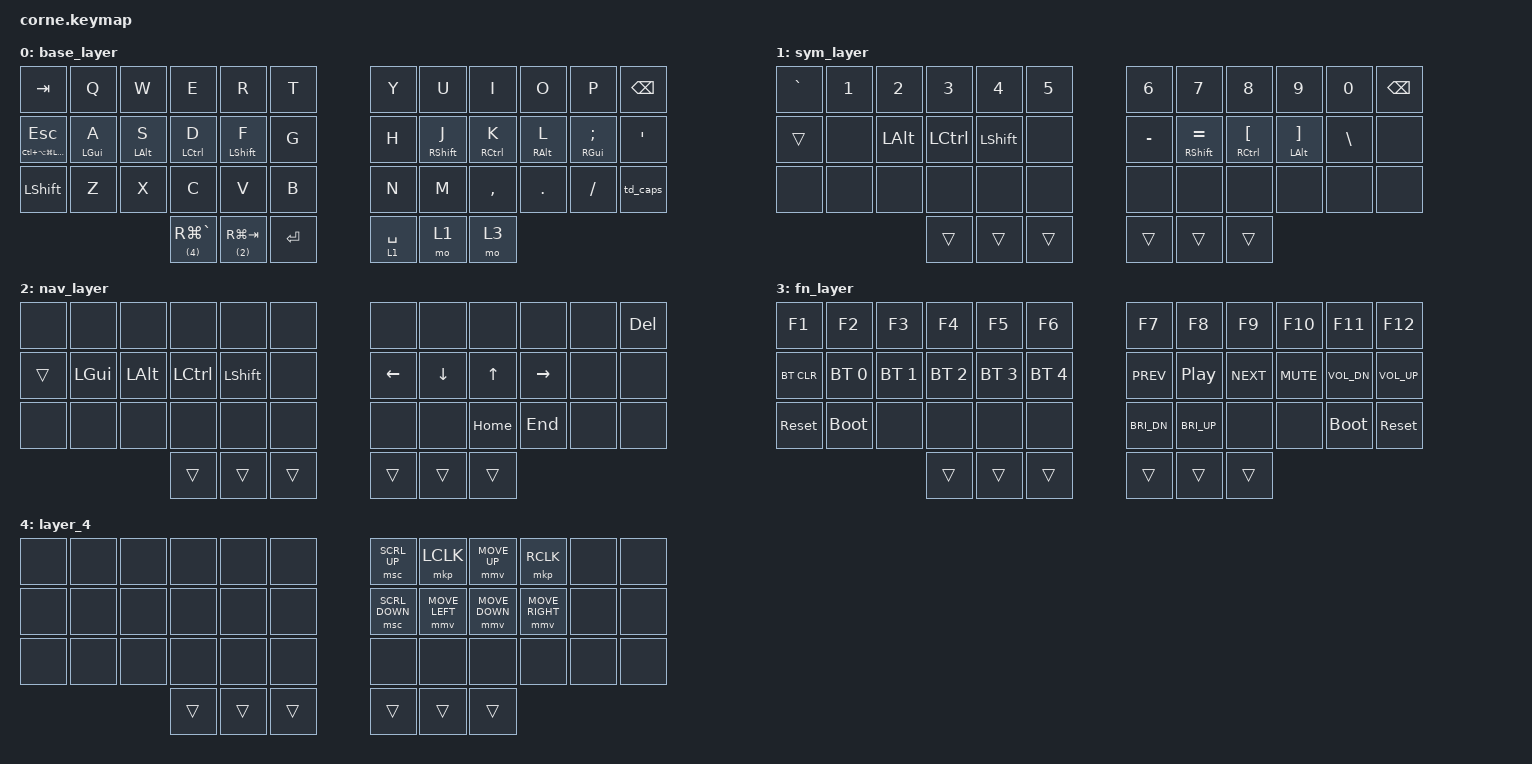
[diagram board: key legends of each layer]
#include <behaviors.dtsi>
#include <dt-bindings/zmk/bt.h>
#include <dt-bindings/zmk/keys.h>
#include <dt-bindings/zmk/pointing.h>

#define BASE 0
#define NAV  1
#define SYM  2
#define FN   3
#define HYPER LC(LA(LG(LSHFT)))

/*
 * PETA POSISI TOMBOL CORNE 42-KEY (Untuk Filter Tangan Kiri vs Kanan)
 * -------------------------------------------------------------------
 * |  0 |  1 |  2 |  3 |  4 |  5 |     |  6 |  7 |  8 |  9 | 10 | 11 |
 * | 12 | 13 | 14 | 15 | 16 | 17 |     | 18 | 19 | 20 | 21 | 22 | 23 |
 * | 24 | 25 | 26 | 27 | 28 | 29 |     | 30 | 31 | 32 | 33 | 34 | 35 |
 *                | 36 | 37 | 38 |     | 39 | 40 | 41 |
 */

#define KEYS_L 0 1 2 3 4 5 12 13 14 15 16 17 24 25 26 27 28 29
#define KEYS_R 6 7 8 9 10 11 18 19 20 21 22 23 30 31 32 33 34 35
#define THUMBS 36 37 38 39 40 41

&caps_word { continue-list = <UNDERSCORE MINUS BACKSPACE DELETE>; };

/ {
    behaviors {
        /* =================================================================
         * HOME ROW MODS - TANGAN KIRI (Hanya aktif dengan Tangan Kanan/Thumb)
         * ================================================================= */
        // 1A. Shift Kiri (F) - 160ms
        // prior-idle kecil (20ms) agar habis tekan Spasi bisa langsung Shift tanpa terblokir

        hml_fast: hrm_left_fast {
            compatible = "zmk,behavior-hold-tap";
            #binding-cells = <2>;
            tapping-term-ms = <160>;
            quick-tap-ms = <220>;
            require-prior-idle-ms = <20>;
            flavor = "balanced";
            hold-trigger-key-positions = <KEYS_R THUMBS>;
            hold-trigger-on-release;
            bindings = <&kp>, <&kp>;
        };

        // 2A. Ctrl & Alt Kiri (S, D) - 230ms + Anti-Streak 135ms (Setara @.tp 55ms Kanata)

        hml_med: hrm_left_med {
            compatible = "zmk,behavior-hold-tap";
            #binding-cells = <2>;
            tapping-term-ms = <230>;
            quick-tap-ms = <220>;
            require-prior-idle-ms = <135>;
            flavor = "balanced";
            hold-trigger-key-positions = <KEYS_R THUMBS>;
            hold-trigger-on-release;
            bindings = <&kp>, <&kp>;
        };

        // 3A. Kelingking Kiri (A -> LGUI) - 275ms + Anti-Streak 135ms

        hml_slow: hrm_left_slow {
            compatible = "zmk,behavior-hold-tap";
            #binding-cells = <2>;
            tapping-term-ms = <275>;
            quick-tap-ms = <220>;
            require-prior-idle-ms = <135>;
            flavor = "balanced";
            hold-trigger-key-positions = <KEYS_R THUMBS>;
            hold-trigger-on-release;
            bindings = <&kp>, <&kp>;
        };

        /* =================================================================
         * HOME ROW MODS - TANGAN KANAN (Hanya aktif dengan Tangan Kiri/Thumb)
         * ================================================================= */
        // 1B. Shift Kanan (J) - 160ms

        hmr_fast: hrm_right_fast {
            compatible = "zmk,behavior-hold-tap";
            #binding-cells = <2>;
            tapping-term-ms = <160>;
            quick-tap-ms = <220>;
            require-prior-idle-ms = <20>;
            flavor = "balanced";
            hold-trigger-key-positions = <KEYS_L THUMBS>;
            hold-trigger-on-release;
            bindings = <&kp>, <&kp>;
        };

        // 2B. Ctrl & Alt Kanan (K, L) - 230ms + Anti-Streak 135ms

        hmr_med: hrm_right_med {
            compatible = "zmk,behavior-hold-tap";
            #binding-cells = <2>;
            tapping-term-ms = <230>;
            quick-tap-ms = <220>;
            require-prior-idle-ms = <135>;
            flavor = "balanced";
            hold-trigger-key-positions = <KEYS_L THUMBS>;
            hold-trigger-on-release;
            bindings = <&kp>, <&kp>;
        };

        // 3B. Kelingking Kanan (; -> RGUI) - 200ms + Anti-Streak 135ms

        hmr_semi: hrm_right_semi {
            compatible = "zmk,behavior-hold-tap";
            #binding-cells = <2>;
            tapping-term-ms = <200>;
            quick-tap-ms = <220>;
            require-prior-idle-ms = <135>;
            flavor = "balanced";
            hold-trigger-key-positions = <KEYS_L THUMBS>;
            hold-trigger-on-release;
            bindings = <&kp>, <&kp>;
        };

        /* =================================================================
         * MODIFIER NON-HURUF (Caps Hyper, Thumb Mac Shortcuts, Tap-Dance)
         * ================================================================= */
        // Untuk tombol luar/thumb (Caps, Cmd+Tab, Cmd+Grave) - Tanpa filter posisi tangan

        mod_230: modifier_hold_230 {
            compatible = "zmk,behavior-hold-tap";
            #binding-cells = <2>;
            tapping-term-ms = <230>;
            quick-tap-ms = <220>;
            flavor = "balanced";
            bindings = <&kp>, <&kp>;
        };

        // Tap-Dance @caps-tap (140ms): 1x Tap = ESC, 2x Tap = Caps Word

        td_caps: tap_dance_caps_word {
            compatible = "zmk,behavior-tap-dance";
            #binding-cells = <0>;
            tapping-term-ms = <200>;
            bindings = <&none>, <&caps_word>;
        };

        // @caps_mod (200 300): Tap = td_caps, Hold = Layer NAV

        caps_mod: caps_layer_mod {
            compatible = "zmk,behavior-hold-tap";
            #binding-cells = <2>;
            tapping-term-ms = <300>;
            quick-tap-ms = <200>;
            flavor = "balanced";
            bindings = <&kp>, <&td_caps>;
        };

        mod_231: mod_231 {
            compatible = "zmk,behavior-hold-tap";
            #binding-cells = <2>;
            tapping-term-ms = <230>;
            quick-tap-ms = <220>;
            flavor = "balanced";
            bindings = <&mo>, <&kp>;

            label = "MOD_231";
        };
    };

    combos {
        compatible = "zmk,combos";

        caps_words {
            bindings = <&caps_word>;
            key-positions = <16 18>;
        };
    };

    keymap {
        compatible = "zmk,keymap";

        base_layer {
            bindings = <
&kp TAB             &kp Q             &kp W            &kp E                   &kp R                 &kp T        &kp Y        &kp U              &kp I             &kp O            &kp P                &kp BSPC
&mod_230 HYPER ESC  &hml_slow LGUI A  &hml_med LALT S  &hml_med LCTRL D        &hml_fast LSHFT F     &kp G        &kp H        &hmr_fast RSHFT J  &hmr_med RCTRL K  &hmr_med RALT L  &hmr_semi RGUI SEMI  &kp SQT
&kp LSHFT           &kp Z             &kp X            &kp C                   &kp V                 &kp B        &kp N        &kp M              &kp COMMA         &kp DOT          &kp FSLH             &td_caps
                                                       &mod_231 (4) RG(GRAVE)  &mod_231 (2) RG(TAB)  &kp ENTER    &lt 1 SPACE  &mo 1              &mo 3
            >;
        };

        sym_layer {
            bindings = <
&kp GRAVE  &kp N1  &kp N2    &kp N3     &kp N4     &kp N5    &kp N6     &kp N7                 &kp N8                       &kp N9                       &kp N0         &kp BSPC
&trans     &none   &kp LALT  &kp LCTRL  &kp LSHFT  &none     &kp MINUS  &hmr_fast RSHFT EQUAL  &hmr_med RCTRL LEFT_BRACKET  &hmr_med LALT RIGHT_BRACKET  &kp BACKSLASH  &none
&none      &none   &none     &none      &none      &none     &none      &none                  &none                        &none                        &none          &none
                             &trans     &trans     &trans    &trans     &trans                 &trans
            >;
        };

        nav_layer {
            bindings = <
&none   &none     &none     &none      &none      &none     &none     &none     &none     &none      &none  &kp DEL
&trans  &kp LGUI  &kp LALT  &kp LCTRL  &kp LSHFT  &none     &kp LEFT  &kp DOWN  &kp UP    &kp RIGHT  &none  &none
&none   &none     &none     &none      &none      &none     &none     &none     &kp HOME  &kp END    &none  &none
                            &trans     &trans     &trans    &trans    &trans    &trans
            >;
        };

        fn_layer {
            bindings = <
&kp F1      &kp F2        &kp F3        &kp F4        &kp F5        &kp F6          &kp F7        &kp F8        &kp F9      &kp F10     &kp F11       &kp F12
&bt BT_CLR  &bt BT_SEL 0  &bt BT_SEL 1  &bt BT_SEL 2  &bt BT_SEL 3  &bt BT_SEL 4    &kp C_PREV    &kp C_PP      &kp C_NEXT  &kp C_MUTE  &kp C_VOL_DN  &kp C_VOL_UP
&sys_reset  &bootloader   &none         &none         &none         &none           &kp C_BRI_DN  &kp C_BRI_UP  &none       &none       &bootloader   &sys_reset
                                        &trans        &trans        &trans          &trans        &trans        &trans
            >;
        };

        layer_4 {
            bindings = <
&none  &none  &none  &none   &none   &none     &msc SCRL_UP    &mkp LCLK       &mmv MOVE_UP    &mkp RCLK        &none  &none
&none  &none  &none  &none   &none   &none     &msc SCRL_DOWN  &mmv MOVE_LEFT  &mmv MOVE_DOWN  &mmv MOVE_RIGHT  &none  &none
&none  &none  &none  &none   &none   &none     &none           &none           &none           &none            &none  &none
                     &trans  &trans  &trans    &trans          &trans          &trans
            >;
        };
    };
};
